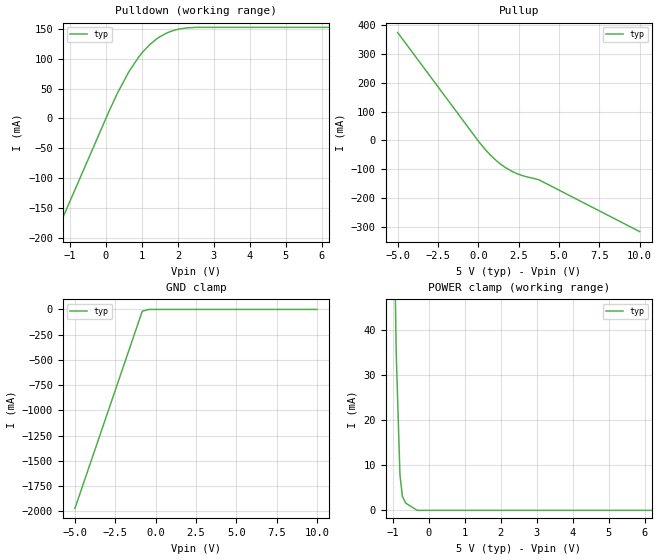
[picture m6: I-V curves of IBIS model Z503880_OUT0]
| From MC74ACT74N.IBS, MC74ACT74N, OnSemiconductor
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| (C) COPYRIGHT 1993-2000
| MENTOR GRAPHICS CORPORATION
| ICX STANDARD LIBRARY, ICX PROJECT MODELING,
| ICX CUSTOM MODELING, ICX VENDOR MODEL
| ALL RIGHTS RESERVED.
| THE FOLLOWING ARE TRADEMARKS OR SERVICE MARKS OF
| MENTOR GRAPHICS CORPORATION:ICX (R), ICX STANDARD
| LIBRARY(R), ICX PROJECT MODELING(R), ICX CUSTOM
| MODELING(R), qualityIBIS(TM), MODELVIEWER(TM),
| AND MODELEDITOR(TM)
| ALL COPIES OF SOFTWARE, INCLUDING BUT NOT LIMITED TO
| ANY MODIFICATIONS, ENHANCEMENTS OR DERIVATIVE WORKS,
| MUST CONTAIN ALL MENTOR GRAPHICS CORPORATION'S
| NOTICES AND LEGENDS, INCLUDING THOSE EMBEDDED IN
| SOFTWARE AND THOSE AFFIXED TO SOFTWARE MEDIUM
| AND CONTAINER, AS RECEIVED FROM MENTOR GRAPHICS
| CORPORATION.
| Model Application Version 1.89 2/18/99.
[Model] Z503880_OUT0
Model_type Output
Vref=0.000V
Rref=500.0ohms
Cref=50.00pF
Vmeas=1.500V
C_comp 8.000pF NA NA
| variable typ   min   max
[Voltage Range] 5.000V NA NA
[POWER Clamp Reference] 5.000V NA NA
[Pullup Reference] 5.000V NA NA
[Pulldown Reference] 0.000V NA NA
[GND Clamp Reference] 0.000V NA NA
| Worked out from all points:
|   slope of the pulldown table from 0 to 0.75 V, typ, clamps not added: 8.47 ohm
|   slope of the pullup table from 0 to 0.75 V, typ, clamps not added: 15.5 ohm
[GND Clamp]
-5V       -1.973A    NA         NA
-825mV    -18.48mA   NA         NA
-412.5mV  0A         NA         NA
10V       0A         NA         NA
[Pulldown]
-5V       -695.7mA   NA         NA
92.77mV   13mA       NA         NA
322.4mV   42.8mA     NA         NA
639.6mV   78.61mA    NA         NA
913.9mV   103.4mA    NA         NA
1.228V    124.5mA    NA         NA
1.416V    133.9mA    NA         NA
1.784V    145.8mA    NA         NA
2.119V    151mA      NA         NA
2.516V    153mA      NA         NA
10V       153mA      NA         NA
[Pullup]
-5V       374.6mA    NA         NA
20mV      -3.841mA   NA         NA
615mV     -43.1mA    NA         NA
1.182V    -73.46mA   NA         NA
1.621V    -92.13mA   NA         NA
2.124V    -108.6mA   NA         NA
2.862V    -124.4mA   NA         NA
3.789V    -137.8mA   NA         NA
10V       -316.8mA   NA         NA
[POWER Clamp]
-5V       2.705A     NA         NA
-1.025V   97.17mA    NA         NA
-903mV    34.56mA    NA         NA
-800mV    7.907mA    NA         NA
-732mV    3.083mA    NA         NA
-639mV    1.594mA    NA         NA
-319.5mV  0A         NA         NA
10V       0A         NA         NA
[Ramp]
| variable typ min max
dV/dt_r 2.936/659.6p NA NA
dV/dt_f 2.936/382.5p NA NA
R_load = 500.0Ohms
